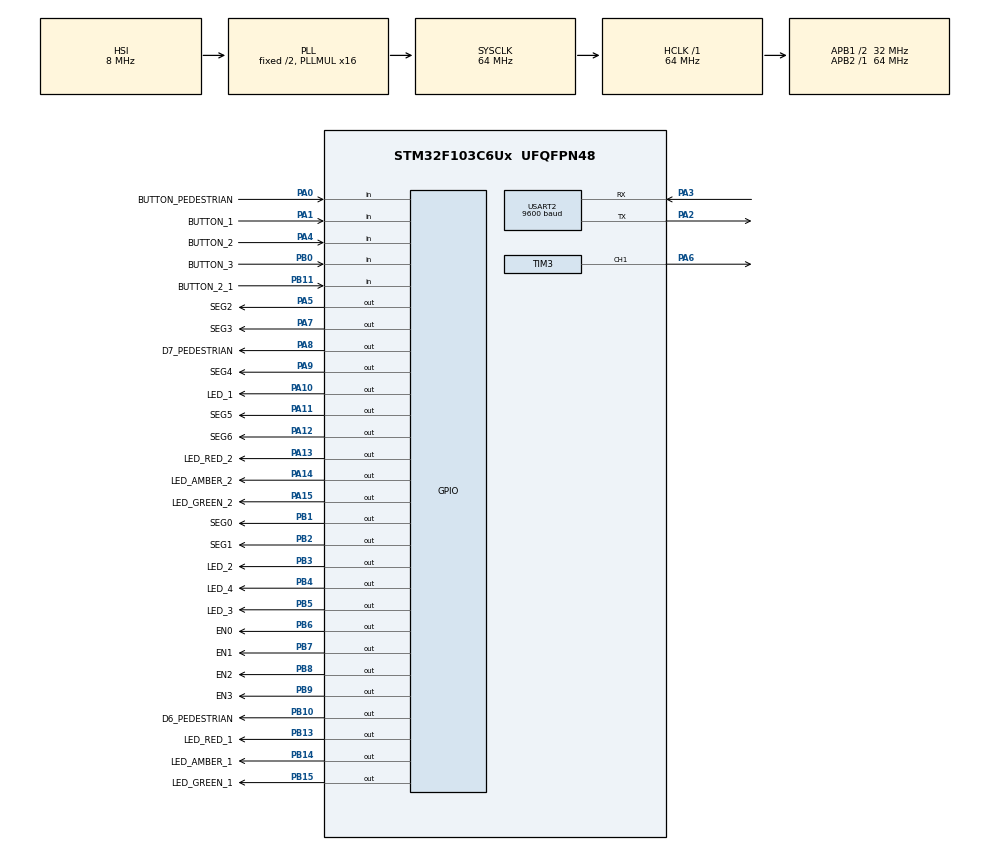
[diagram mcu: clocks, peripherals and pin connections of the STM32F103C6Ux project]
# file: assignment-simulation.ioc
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Mcu.Family=STM32F1
Mcu.Name=STM32F103C6Ux
Mcu.Package=UFQFPN48
NVIC.PriorityGroup=NVIC_PRIORITYGROUP_4
NVIC.TIM2_IRQn=true\:0\:0\:false\:false\:true\:true\:true
NVIC.TIM3_IRQn=true\:0\:0\:false\:false\:true\:true\:true
NVIC.USART2_IRQn=true\:0\:0\:false\:false\:true\:true\:true
PA0-WKUP.GPIO_Label=BUTTON_PEDESTRIAN
PA0-WKUP.GPIO_PuPd=GPIO_PULLUP
PA0-WKUP.Signal=GPIO_Input
PA1.GPIO_Label=BUTTON_1
PA1.GPIO_PuPd=GPIO_PULLUP
PA1.Signal=GPIO_Input
PA10.GPIO_Label=LED_1
PA10.Signal=GPIO_Output
PA11.GPIO_Label=SEG5
PA11.Signal=GPIO_Output
PA12.GPIO_Label=SEG6
PA12.Signal=GPIO_Output
PA13.GPIO_Label=LED_RED_2
PA13.Signal=GPIO_Output
PA14.GPIO_Label=LED_AMBER_2
PA14.Signal=GPIO_Output
PA15.GPIO_Label=LED_GREEN_2
PA15.Signal=GPIO_Output
PA2.Mode=Asynchronous
PA2.Signal=USART2_TX
PA3.Mode=Asynchronous
PA3.Signal=USART2_RX
PA4.GPIO_Label=BUTTON_2
PA4.GPIO_PuPd=GPIO_PULLUP
PA4.Signal=GPIO_Input
PA5.GPIO_Label=SEG2
PA5.Signal=GPIO_Output
PA6.Signal=S_TIM3_CH1
PA7.GPIO_Label=SEG3
PA7.Signal=GPIO_Output
PA8.GPIO_Label=D7_PEDESTRIAN
PA8.Signal=GPIO_Output
PA9.GPIO_Label=SEG4
PA9.Signal=GPIO_Output
PB0.GPIO_Label=BUTTON_3
PB0.GPIO_PuPd=GPIO_PULLUP
PB0.Signal=GPIO_Input
PB1.GPIO_Label=SEG0
PB1.Signal=GPIO_Output
PB10.GPIO_Label=D6_PEDESTRIAN
PB10.Signal=GPIO_Output
PB11.GPIO_Label=BUTTON_2_1
PB11.GPIO_PuPd=GPIO_PULLUP
PB11.Signal=GPIO_Input
PB13.GPIO_Label=LED_RED_1
PB13.Signal=GPIO_Output
PB14.GPIO_Label=LED_AMBER_1
PB14.Signal=GPIO_Output
PB15.GPIO_Label=LED_GREEN_1
PB15.Signal=GPIO_Output
PB2.GPIO_Label=SEG1
PB2.Signal=GPIO_Output
PB3.GPIO_Label=LED_2
PB3.Signal=GPIO_Output
PB4.GPIO_Label=LED_4
PB4.Signal=GPIO_Output
PB5.GPIO_Label=LED_3
PB5.Signal=GPIO_Output
PB6.GPIO_Label=EN0
PB6.Signal=GPIO_Output
PB7.GPIO_Label=EN1
PB7.Signal=GPIO_Output
PB8.GPIO_Label=EN2
PB8.Signal=GPIO_Output
PB9.GPIO_Label=EN3
PB9.Signal=GPIO_Output
ProjectManager.HeapSize=0x200
ProjectManager.StackSize=0x400
ProjectManager.TargetToolchain=STM32CubeIDE
RCC.AHBFreq_Value=64000000
RCC.APB1CLKDivider=RCC_HCLK_DIV2
RCC.APB1Freq_Value=32000000
RCC.APB1TimFreq_Value=64000000
RCC.APB2Freq_Value=64000000
RCC.APB2TimFreq_Value=64000000
RCC.HCLKFreq_Value=64000000
RCC.PLLMUL=RCC_PLL_MUL16
RCC.SYSCLKFreq_VALUE=64000000
RCC.SYSCLKSource=RCC_SYSCLKSOURCE_PLLCLK
RCC.USBFreq_Value=64000000
SH.S_TIM3_CH1.0=TIM3_CH1,PWM Generation1 CH1
TIM2.Period=79
TIM2.Prescaler=7999
TIM3.Channel-PWM\ Generation1\ CH1=TIM_CHANNEL_1
TIM3.Period=79
TIM3.Prescaler=79
USART2.BaudRate=9600
USART2.VirtualMode=VM_ASYNC
VP_SYS_VS_ND.Mode=No_Debug
VP_TIM2_VS_ClockSourceINT.Mode=Internal
VP_TIM3_VS_ClockSourceINT.Mode=Internal
board=custom

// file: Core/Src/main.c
/* USER CODE BEGIN Header */
/**
 ******************************************************************************
 * @file           : main.c
 * @brief          : Main program body
 ******************************************************************************
 * @attention
 *
 * <h2><center>&copy; Copyright (c) 2023 STMicroelectronics.
 * All rights reserved.</center></h2>
 *
 * This software component is licensed by ST under BSD 3-Clause license,
 * the "License"; You may not use this file except in compliance with the
 * License. You may obtain a copy of the License at:
 *                        opensource.org/licenses/BSD-3-Clause
 *
 ******************************************************************************
 */
/* USER CODE END Header */
#include "main.h"

/* USER CODE BEGIN Includes */
#include "graphics.h"
#include "global.h"
#include "fsm_automatic.h"
#include "fsm_manual.h"
/* USER CODE END Includes */

TIM_HandleTypeDef htim2;
TIM_HandleTypeDef htim3;

UART_HandleTypeDef huart2;

void SystemClock_Config(void);
static void MX_TIM2_Init(void);
static void MX_GPIO_Init(void);
static void MX_USART2_UART_Init(void);
static void MX_TIM3_Init(void);
/* USER CODE BEGIN PFP */
void fsm_run(){
	if (buffer_flag == 1) {
		buffer_flag = 0;
	}

	 fsm_pedestrian_run();
	 fsm_buzzer_run();

	if (status == AUTOMATIC_MODE)
		fsm_automatic_run(huart2);
	else if (status == MANUAL_MODE)
		fsm_manual_run(huart2);

	if (buffer_flag == 1) {
		buffer_flag = 0;
	}

	display7SegmentLight(huart2);
}
/* USER CODE END PFP */

/* USER CODE BEGIN 0 */
void HAL_UART_RxCpltCallback(UART_HandleTypeDef *huart) {
	if (huart->Instance == USART2) {
		buffer[index_buffer++] = temp;
		if (index_buffer == MAX_BUFFER_SIZE)
			index_buffer = 0;
		buffer_flag = 1;
		HAL_UART_Transmit(&huart2, &temp, 1, 50);
		HAL_UART_Receive_IT(&huart2, &temp, 1);
	}
}

/* USER CODE END 0 */

int main(void)
{

  /* MCU Configuration--------------------------------------------------------*/

  /* Reset of all peripherals, Initializes the Flash interface and the Systick. */
  HAL_Init();

  /* Configure the system clock */
  SystemClock_Config();

  /* Initialize all configured peripherals */
  MX_TIM2_Init();
  MX_GPIO_Init();
  MX_USART2_UART_Init();
  MX_TIM3_Init();
  /* USER CODE BEGIN 2 */
	HAL_TIM_Base_Start_IT(&htim2);
	HAL_UART_Receive_IT(&huart2, &temp, 1);
	HAL_TIM_PWM_Start(&htim3, TIM_CHANNEL_1);
  /* USER CODE END 2 */

  /* Infinite loop */
  /* USER CODE BEGIN WHILE */
	initButton();
	HAL_GPIO_WritePin(D6_PEDESTRIAN_GPIO_Port, D6_PEDESTRIAN_Pin, GPIO_PIN_SET);
	HAL_GPIO_WritePin(D7_PEDESTRIAN_GPIO_Port, D7_PEDESTRIAN_Pin, GPIO_PIN_SET);

	SCH_Add_Task(timerRun, 1, 1);
	SCH_Add_Task(getKeyInput, 1, 1);
	SCH_Add_Task(fsm_run, 3, 1);
	while (1) {

    /* USER CODE END WHILE */
	SCH_Dispatch_Tasks();
	}
}

void SystemClock_Config(void)
{
  RCC_OscInitTypeDef RCC_OscInitStruct = {0};
  RCC_ClkInitTypeDef RCC_ClkInitStruct = {0};

  /** Initializes the RCC Oscillators according to the specified parameters
  * in the RCC_OscInitTypeDef structure.
  */
  RCC_OscInitStruct.OscillatorType = RCC_OSCILLATORTYPE_HSI;
  RCC_OscInitStruct.HSIState = RCC_HSI_ON;
  RCC_OscInitStruct.HSICalibrationValue = RCC_HSICALIBRATION_DEFAULT;
  RCC_OscInitStruct.PLL.PLLState = RCC_PLL_ON;
  RCC_OscInitStruct.PLL.PLLSource = RCC_PLLSOURCE_HSI_DIV2;
  RCC_OscInitStruct.PLL.PLLMUL = RCC_PLL_MUL16;
  if (HAL_RCC_OscConfig(&RCC_OscInitStruct) != HAL_OK)
  {
    Error_Handler();
  }
  /** Initializes the CPU, AHB and APB buses clocks
  */
  RCC_ClkInitStruct.ClockType = RCC_CLOCKTYPE_HCLK|RCC_CLOCKTYPE_SYSCLK
                              |RCC_CLOCKTYPE_PCLK1|RCC_CLOCKTYPE_PCLK2;
  RCC_ClkInitStruct.SYSCLKSource = RCC_SYSCLKSOURCE_PLLCLK;
  RCC_ClkInitStruct.AHBCLKDivider = RCC_SYSCLK_DIV1;
  RCC_ClkInitStruct.APB1CLKDivider = RCC_HCLK_DIV2;
  RCC_ClkInitStruct.APB2CLKDivider = RCC_HCLK_DIV1;

  if (HAL_RCC_ClockConfig(&RCC_ClkInitStruct, FLASH_LATENCY_2) != HAL_OK)
  {
    Error_Handler();
  }
}

static void MX_TIM2_Init(void)
{

  TIM_ClockConfigTypeDef sClockSourceConfig = {0};
  TIM_MasterConfigTypeDef sMasterConfig = {0};

  htim2.Instance = TIM2;
  htim2.Init.Prescaler = 7999;
  htim2.Init.CounterMode = TIM_COUNTERMODE_UP;
  htim2.Init.Period = 79;
  htim2.Init.ClockDivision = TIM_CLOCKDIVISION_DIV1;
  htim2.Init.AutoReloadPreload = TIM_AUTORELOAD_PRELOAD_DISABLE;
  if (HAL_TIM_Base_Init(&htim2) != HAL_OK)
  {
    Error_Handler();
  }
  sClockSourceConfig.ClockSource = TIM_CLOCKSOURCE_INTERNAL;
  if (HAL_TIM_ConfigClockSource(&htim2, &sClockSourceConfig) != HAL_OK)
  {
    Error_Handler();
  }
  sMasterConfig.MasterOutputTrigger = TIM_TRGO_RESET;
  sMasterConfig.MasterSlaveMode = TIM_MASTERSLAVEMODE_DISABLE;
  if (HAL_TIMEx_MasterConfigSynchronization(&htim2, &sMasterConfig) != HAL_OK)
  {
    Error_Handler();
  }

}

static void MX_TIM3_Init(void)
{

  TIM_ClockConfigTypeDef sClockSourceConfig = {0};
  TIM_MasterConfigTypeDef sMasterConfig = {0};
  TIM_OC_InitTypeDef sConfigOC = {0};

  htim3.Instance = TIM3;
  htim3.Init.Prescaler = 79;
  htim3.Init.CounterMode = TIM_COUNTERMODE_UP;
  htim3.Init.Period = 79;
  htim3.Init.ClockDivision = TIM_CLOCKDIVISION_DIV1;
  htim3.Init.AutoReloadPreload = TIM_AUTORELOAD_PRELOAD_DISABLE;
  if (HAL_TIM_Base_Init(&htim3) != HAL_OK)
  {
    Error_Handler();
  }
  sClockSourceConfig.ClockSource = TIM_CLOCKSOURCE_INTERNAL;
  if (HAL_TIM_ConfigClockSource(&htim3, &sClockSourceConfig) != HAL_OK)
  {
    Error_Handler();
  }
  if (HAL_TIM_PWM_Init(&htim3) != HAL_OK)
  {
    Error_Handler();
  }
  sMasterConfig.MasterOutputTrigger = TIM_TRGO_RESET;
  sMasterConfig.MasterSlaveMode = TIM_MASTERSLAVEMODE_DISABLE;
  if (HAL_TIMEx_MasterConfigSynchronization(&htim3, &sMasterConfig) != HAL_OK)
  {
    Error_Handler();
  }
  sConfigOC.OCMode = TIM_OCMODE_PWM1;
  sConfigOC.Pulse = 0;
  sConfigOC.OCPolarity = TIM_OCPOLARITY_HIGH;
  sConfigOC.OCFastMode = TIM_OCFAST_DISABLE;
  if (HAL_TIM_PWM_ConfigChannel(&htim3, &sConfigOC, TIM_CHANNEL_1) != HAL_OK)
  {
    Error_Handler();
  }
  HAL_TIM_MspPostInit(&htim3);

}

static void MX_USART2_UART_Init(void)
{

  huart2.Instance = USART2;
  huart2.Init.BaudRate = 9600;
  huart2.Init.WordLength = UART_WORDLENGTH_8B;
  huart2.Init.StopBits = UART_STOPBITS_1;
  huart2.Init.Parity = UART_PARITY_NONE;
  huart2.Init.Mode = UART_MODE_TX_RX;
  huart2.Init.HwFlowCtl = UART_HWCONTROL_NONE;
  huart2.Init.OverSampling = UART_OVERSAMPLING_16;
  if (HAL_UART_Init(&huart2) != HAL_OK)
  {
    Error_Handler();
  }

}

static void MX_GPIO_Init(void)
{
  GPIO_InitTypeDef GPIO_InitStruct = {0};

  /* GPIO Ports Clock Enable */
  __HAL_RCC_GPIOA_CLK_ENABLE();
  __HAL_RCC_GPIOB_CLK_ENABLE();

  /*Configure GPIO pin Output Level */
  HAL_GPIO_WritePin(GPIOA, SEG2_Pin|SEG3_Pin|D7_PEDESTRIAN_Pin|SEG4_Pin
                          |LED_1_Pin|SEG5_Pin|SEG6_Pin|LED_RED_2_Pin
                          |LED_AMBER_2_Pin|LED_GREEN_2_Pin, GPIO_PIN_RESET);

  /*Configure GPIO pin Output Level */
  HAL_GPIO_WritePin(GPIOB, SEG0_Pin|SEG1_Pin|D6_PEDESTRIAN_Pin|LED_RED_1_Pin
                          |LED_AMBER_1_Pin|LED_GREEN_1_Pin|LED_2_Pin|LED_4_Pin
                          |LED_3_Pin|EN0_Pin|EN1_Pin|EN2_Pin
                          |EN3_Pin, GPIO_PIN_RESET);

  /*Configure GPIO pins : BUTTON_PEDESTRIAN_Pin BUTTON_1_Pin BUTTON_2_Pin */
  GPIO_InitStruct.Pin = BUTTON_PEDESTRIAN_Pin|BUTTON_1_Pin|BUTTON_2_Pin;
  GPIO_InitStruct.Mode = GPIO_MODE_INPUT;
  GPIO_InitStruct.Pull = GPIO_PULLUP;
  HAL_GPIO_Init(GPIOA, &GPIO_InitStruct);

  /*Configure GPIO pins : SEG2_Pin SEG3_Pin D7_PEDESTRIAN_Pin SEG4_Pin
                           LED_1_Pin SEG5_Pin SEG6_Pin LED_RED_2_Pin
                           LED_AMBER_2_Pin LED_GREEN_2_Pin */
  GPIO_InitStruct.Pin = SEG2_Pin|SEG3_Pin|D7_PEDESTRIAN_Pin|SEG4_Pin
                          |LED_1_Pin|SEG5_Pin|SEG6_Pin|LED_RED_2_Pin
                          |LED_AMBER_2_Pin|LED_GREEN_2_Pin;
  GPIO_InitStruct.Mode = GPIO_MODE_OUTPUT_PP;
  GPIO_InitStruct.Pull = GPIO_NOPULL;
  GPIO_InitStruct.Speed = GPIO_SPEED_FREQ_LOW;
  HAL_GPIO_Init(GPIOA, &GPIO_InitStruct);

  /*Configure GPIO pins : BUTTON_3_Pin BUTTON_2_1_Pin */
  GPIO_InitStruct.Pin = BUTTON_3_Pin|BUTTON_2_1_Pin;
  GPIO_InitStruct.Mode = GPIO_MODE_INPUT;
  GPIO_InitStruct.Pull = GPIO_PULLUP;
  HAL_GPIO_Init(GPIOB, &GPIO_InitStruct);

  /*Configure GPIO pins : SEG0_Pin SEG1_Pin D6_PEDESTRIAN_Pin LED_RED_1_Pin
                           LED_AMBER_1_Pin LED_GREEN_1_Pin LED_2_Pin LED_4_Pin
                           LED_3_Pin EN0_Pin EN1_Pin EN2_Pin
                           EN3_Pin */
  GPIO_InitStruct.Pin = SEG0_Pin|SEG1_Pin|D6_PEDESTRIAN_Pin|LED_RED_1_Pin
                          |LED_AMBER_1_Pin|LED_GREEN_1_Pin|LED_2_Pin|LED_4_Pin
                          |LED_3_Pin|EN0_Pin|EN1_Pin|EN2_Pin
                          |EN3_Pin;
  GPIO_InitStruct.Mode = GPIO_MODE_OUTPUT_PP;
  GPIO_InitStruct.Pull = GPIO_NOPULL;
  GPIO_InitStruct.Speed = GPIO_SPEED_FREQ_LOW;
  HAL_GPIO_Init(GPIOB, &GPIO_InitStruct);

}

/* USER CODE BEGIN 4 */
void HAL_TIM_PeriodElapsedCallback(TIM_HandleTypeDef *htim) {
//	timerRun();
//	getKeyInput();
	SCH_Update();
}
/* USER CODE END 4 */

void Error_Handler(void)
{
	__disable_irq();
	while (1) {
	}
}

/************************ (C) COPYRIGHT STMicroelectronics *****END OF FILE****/
